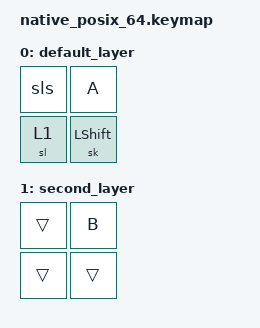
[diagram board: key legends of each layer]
#include <dt-bindings/zmk/keys.h>
#include <behaviors.dtsi>
#include <dt-bindings/zmk/kscan_mock.h>

&sl {
    ignore-modifiers;
};

/ {
    macros {
        sls: sls {
            label = "sticky_layer_shift";
            compatible = "zmk,behavior-macro";
            #binding-cells = <0>;
            wait-ms = <0>;
            tap-ms = <1>;
            bindings
                = <&sl 1 &sk LSHFT>;
        };
    };

	keymap {
		compatible = "zmk,keymap";
		label ="Default keymap";

		default_layer {
			bindings = <
				&sls  &kp A
				&sl 1 &sk LSHFT
            >;
		};

		second_layer {
			bindings = <
				&trans &kp B
				&trans &trans
            >;
		};
	};
};


&kscan {
	events = <
		ZMK_MOCK_PRESS(0,0,10)  // macro should produce same as sl followd by sk
		ZMK_MOCK_RELEASE(0,0,10)
//		ZMK_MOCK_PRESS(1,0,10)
//		ZMK_MOCK_RELEASE(1,0,10)
//		ZMK_MOCK_PRESS(1,1,10)
//		ZMK_MOCK_RELEASE(1,1,10)
		ZMK_MOCK_PRESS(0,1,10)
		ZMK_MOCK_RELEASE(0,1,10)
	>;
};
